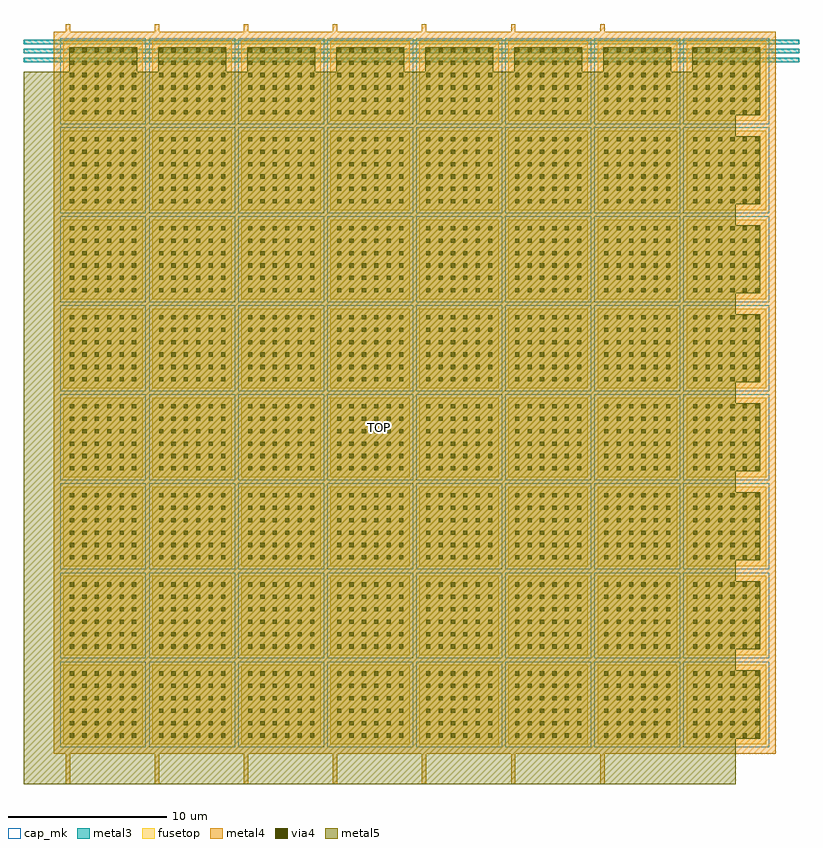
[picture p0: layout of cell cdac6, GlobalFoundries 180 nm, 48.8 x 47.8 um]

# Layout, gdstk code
import gdstk
lib = gdstk.Library(unit=1e-6, precision=1e-09)
def R(c, l, rs):  # rectangles x0, y0, x1, y1
    for r in rs: c.add(gdstk.rectangle(r[:2], r[2:], *l))
def A(c, l, x, y, w, h, nx, ny, dx, dy):  # array of equal rectangles
    R(c, l, [(x+i*dx, y+j*dy, x+i*dx+w, y+j*dy+h) for i in range(nx) for j in range(ny)])
via4 = (41, 0)
metal3 = (42, 0)
metal4 = (46, 0)
fusetop = (75, 0)
metal5 = (81, 0)
cap_mk = (117, 5)

cdac6 = lib.new_cell('cdac6')
A(cdac6, via4, 2.92, 2.92, 0.26, 0.26, 6, 6, 0.78, 0.78)
A(cdac6, via4, 8.52, 2.92, 0.26, 0.26, 6, 6, 0.78, 0.78)
A(cdac6, via4, 14.12, 2.92, 0.26, 0.26, 6, 6, 0.78, 0.78)
A(cdac6, via4, 19.72, 2.92, 0.26, 0.26, 6, 6, 0.78, 0.78)
A(cdac6, via4, 25.32, 2.92, 0.26, 0.26, 6, 6, 0.78, 0.78)
A(cdac6, via4, 30.92, 2.92, 0.26, 0.26, 6, 6, 0.78, 0.78)
A(cdac6, via4, 36.52, 2.92, 0.26, 0.26, 6, 6, 0.78, 0.78)
A(cdac6, via4, 42.12, 2.92, 0.26, 0.26, 6, 6, 0.78, 0.78)
A(cdac6, via4, 2.92, 8.52, 0.26, 0.26, 6, 6, 0.78, 0.78)
A(cdac6, via4, 8.52, 8.52, 0.26, 0.26, 6, 6, 0.78, 0.78)
A(cdac6, via4, 14.12, 8.52, 0.26, 0.26, 6, 6, 0.78, 0.78)
A(cdac6, via4, 19.72, 8.52, 0.26, 0.26, 6, 6, 0.78, 0.78)
A(cdac6, via4, 25.32, 8.52, 0.26, 0.26, 6, 6, 0.78, 0.78)
A(cdac6, via4, 30.92, 8.52, 0.26, 0.26, 6, 6, 0.78, 0.78)
A(cdac6, via4, 36.52, 8.52, 0.26, 0.26, 6, 6, 0.78, 0.78)
A(cdac6, via4, 42.12, 8.52, 0.26, 0.26, 6, 6, 0.78, 0.78)
A(cdac6, via4, 2.92, 14.12, 0.26, 0.26, 6, 6, 0.78, 0.78)
A(cdac6, via4, 8.52, 14.12, 0.26, 0.26, 6, 6, 0.78, 0.78)
A(cdac6, via4, 14.12, 14.12, 0.26, 0.26, 6, 6, 0.78, 0.78)
A(cdac6, via4, 19.72, 14.12, 0.26, 0.26, 6, 6, 0.78, 0.78)
A(cdac6, via4, 25.32, 14.12, 0.26, 0.26, 6, 6, 0.78, 0.78)
A(cdac6, via4, 30.92, 14.12, 0.26, 0.26, 6, 6, 0.78, 0.78)
A(cdac6, via4, 36.52, 14.12, 0.26, 0.26, 6, 6, 0.78, 0.78)
A(cdac6, via4, 42.12, 14.12, 0.26, 0.26, 6, 6, 0.78, 0.78)
A(cdac6, via4, 2.92, 19.72, 0.26, 0.26, 6, 6, 0.78, 0.78)
A(cdac6, via4, 8.52, 19.72, 0.26, 0.26, 6, 6, 0.78, 0.78)
A(cdac6, via4, 14.12, 19.72, 0.26, 0.26, 6, 6, 0.78, 0.78)
A(cdac6, via4, 19.72, 19.72, 0.26, 0.26, 6, 6, 0.78, 0.78)
A(cdac6, via4, 25.32, 19.72, 0.26, 0.26, 6, 6, 0.78, 0.78)
A(cdac6, via4, 30.92, 19.72, 0.26, 0.26, 6, 6, 0.78, 0.78)
A(cdac6, via4, 36.52, 19.72, 0.26, 0.26, 6, 6, 0.78, 0.78)
A(cdac6, via4, 42.12, 19.72, 0.26, 0.26, 6, 6, 0.78, 0.78)
A(cdac6, via4, 2.92, 25.32, 0.26, 0.26, 6, 6, 0.78, 0.78)
A(cdac6, via4, 8.52, 25.32, 0.26, 0.26, 6, 6, 0.78, 0.78)
A(cdac6, via4, 14.12, 25.32, 0.26, 0.26, 6, 6, 0.78, 0.78)
A(cdac6, via4, 19.72, 25.32, 0.26, 0.26, 6, 6, 0.78, 0.78)
A(cdac6, via4, 25.32, 25.32, 0.26, 0.26, 6, 6, 0.78, 0.78)
A(cdac6, via4, 30.92, 25.32, 0.26, 0.26, 6, 6, 0.78, 0.78)
A(cdac6, via4, 36.52, 25.32, 0.26, 0.26, 6, 6, 0.78, 0.78)
A(cdac6, via4, 42.12, 25.32, 0.26, 0.26, 6, 6, 0.78, 0.78)
A(cdac6, via4, 2.92, 30.92, 0.26, 0.26, 6, 6, 0.78, 0.78)
A(cdac6, via4, 8.52, 30.92, 0.26, 0.26, 6, 6, 0.78, 0.78)
A(cdac6, via4, 14.12, 30.92, 0.26, 0.26, 6, 6, 0.78, 0.78)
A(cdac6, via4, 19.72, 30.92, 0.26, 0.26, 6, 6, 0.78, 0.78)
A(cdac6, via4, 25.32, 30.92, 0.26, 0.26, 6, 6, 0.78, 0.78)
A(cdac6, via4, 30.92, 30.92, 0.26, 0.26, 6, 6, 0.78, 0.78)
A(cdac6, via4, 36.52, 30.92, 0.26, 0.26, 6, 6, 0.78, 0.78)
A(cdac6, via4, 42.12, 30.92, 0.26, 0.26, 6, 6, 0.78, 0.78)
A(cdac6, via4, 2.92, 36.52, 0.26, 0.26, 6, 6, 0.78, 0.78)
A(cdac6, via4, 8.52, 36.52, 0.26, 0.26, 6, 6, 0.78, 0.78)
A(cdac6, via4, 14.12, 36.52, 0.26, 0.26, 6, 6, 0.78, 0.78)
A(cdac6, via4, 19.72, 36.52, 0.26, 0.26, 6, 6, 0.78, 0.78)
A(cdac6, via4, 25.32, 36.52, 0.26, 0.26, 6, 6, 0.78, 0.78)
A(cdac6, via4, 30.92, 36.52, 0.26, 0.26, 6, 6, 0.78, 0.78)
A(cdac6, via4, 36.52, 36.52, 0.26, 0.26, 6, 6, 0.78, 0.78)
A(cdac6, via4, 42.12, 36.52, 0.26, 0.26, 6, 6, 0.78, 0.78)
A(cdac6, via4, 2.92, 42.12, 0.26, 0.26, 6, 6, 0.78, 0.78)
A(cdac6, via4, 8.52, 42.12, 0.26, 0.26, 6, 6, 0.78, 0.78)
A(cdac6, via4, 14.12, 42.12, 0.26, 0.26, 6, 6, 0.78, 0.78)
A(cdac6, via4, 19.72, 42.12, 0.26, 0.26, 6, 6, 0.78, 0.78)
A(cdac6, via4, 25.32, 42.12, 0.26, 0.26, 6, 6, 0.78, 0.78)
A(cdac6, via4, 30.92, 42.12, 0.26, 0.26, 6, 6, 0.78, 0.78)
A(cdac6, via4, 36.52, 42.12, 0.26, 0.26, 6, 6, 0.78, 0.78)
A(cdac6, via4, 42.12, 42.12, 0.26, 0.26, 6, 6, 0.78, 0.78)
A(cdac6, metal3, 0, 45.4, 48.8, 0.28, 1, 3, 0, 0.56)
A(cdac6, metal4, 2.66, 0, 0.28, 47.8, 7, 1, 5.6, 0)
A(cdac6, metal4, 1.9, 1.9, 6.2, 6.2, 8, 8, 5.6, 5.6)
A(cdac6, fusetop, 2.5, 2.5, 5, 5, 8, 8, 5.6, 5.6)
A(cdac6, metal5, 2.86, 2.86, 4.28, 4.28, 8, 8, 5.6, 5.6)
R(cdac6, metal5, [(0,0,44.8,44.8)])
A(cdac6, cap_mk, 2.3, 2.3, 5.4, 5.4, 8, 8, 5.6, 5.6)
cdac6.add(gdstk.Label('TOP', (22.4,22.4), layer=81, texttype=10))

lib.write_gds('cdac6.gds')
